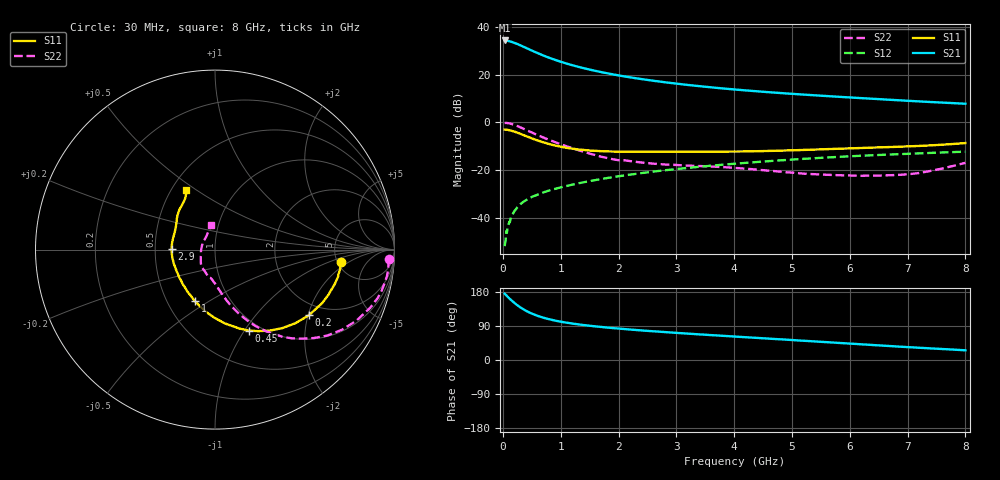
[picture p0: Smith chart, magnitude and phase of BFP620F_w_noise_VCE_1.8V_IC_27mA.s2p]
! Infineon Technologies  Discrete & RF Semiconductors
! BFP620F
! VCE =  1.8 V,  IC =  27 mA
! Common Emitter S-Parameters:  Dec 2014
# GHz  S  MA  R  50
!  f  S11  S21  S12  S22
! GHz  MAG  ANG  MAG  ANG  MAG  ANG  MAG  ANG
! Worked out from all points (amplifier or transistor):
!   95 points, 30 MHz to 8 GHz, reference 50 ohm
!   highest |S21| = 34.4 dB at 30 MHz (marker M1)
!   |S21| within 3 dB of that: start of sweep to 389.3 MHz
!   unconditionally stable (mu >= 1): 2.589 GHz to end of sweep
!   at 300 MHz: K = 0.36, MSG = 33.4 dB, |S12| = -34.5 dB
!   at 3.3 GHz: K = 1.02, MAG = 16.3 dB, |S12| = -18.9 dB
!   at 8 GHz: K = 1.06, MAG = 8.6 dB, |S12| = -12.3 dB
!   lowest NFmin = 1.05 dB at 450 MHz
!   S11 on the Smith chart (normalised r, x): 30 MHz: 5.40, -1.43; 200 MHz: 1.64, -2.02; 450 MHz: 0.88, -1.04; 1 GHz: 0.69, -0.43; 2.9 GHz: 0.61, +0.00; 8 GHz: 0.60, +0.46
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0.03  0.7055 -5.4  52.55 175.1  0.0025 89.6  0.9682 -3.1
0.06  0.7013 -11.4  52.23 170.6  0.0052 69.0  0.9703 -7.8
0.11  0.683 -20.1  50.66 162.7  0.0081 82.0  0.9513 -15.1
0.15  0.6655 -26.9  49.14 157.1  0.0106 76.4  0.9238 -20.5
0.2  0.6384 -35.0  46.71 150.6  0.0137 75.9  0.8819 -26.7
0.25  0.6069 -42.6  44.27 144.5  0.0163 73.0  0.8359 -32.3
0.3  0.5757 -49.5  41.69 139.1  0.0189 69.7  0.788 -37.4
0.4  0.5135 -62.2  36.71 129.8  0.0231 67.3  0.6932 -45.7
0.45  0.488 -67.5  34.39 126.0  0.0254 66.3  0.6516 -49.3
0.5  0.4609 -72.7  32.28 122.5  0.0271 65.2  0.6121 -52.4
0.6  0.4154 -82.3  28.51 116.5  0.0302 64.4  0.539 -57.8
0.7  0.3797 -90.5  25.4 111.6  0.0337 63.6  0.4794 -62.3
0.8  0.3508 -98.1  22.78 107.6  0.037 63.3  0.4284 -65.9
1  0.3082 -111.4  18.77 101.1  0.043 63.1  0.3475 -72.1
1.4  0.2631 -133.3  13.73 92.2  0.0551 62.7  0.2404 -82.2
2  0.2423 -157.6  9.702 83.0  0.0736 61.6  0.1601 -98.5
2.7  0.2416 -176.6  7.219 74.8  0.0952 58.7  0.1328 -115.9
2.9  0.2418 179.1  6.726 72.7  0.1011 57.9  0.1284 -119.9
4.1  0.2442 157.8  4.799 61.0  0.1376 51.6  0.1084 -136.4
5.4  0.2681 142.8  3.695 48.9  0.1766 43.3  0.0813 -165.2
6.7  0.3028 129.3  2.977 36.8  0.2107 34.1  0.0774 148.9
8  0.3671 115.7  2.462 25.6  0.242 25.2  0.1409 99.6
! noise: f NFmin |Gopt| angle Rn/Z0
0.45  1.05  0.02  -178  0.19
0.9  1.09  0.03  -171  0.15
1.5  1.1  0.05  -151  0.16
1.8  1.12  0.06  -148  0.17
1.9  1.12  0.07  -148  0.16
2.4  1.14  0.08  -147  0.16
3.5  1.21  0.11  -143  0.17
5.5  1.36  0.19  238  0.12
6  1.4  0.2  259  0.15
